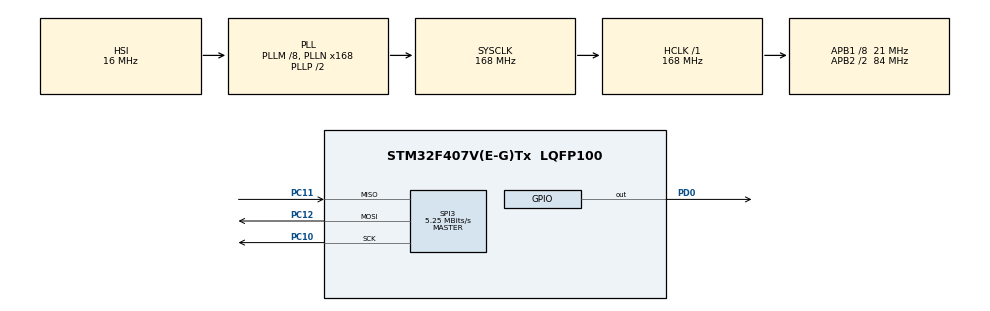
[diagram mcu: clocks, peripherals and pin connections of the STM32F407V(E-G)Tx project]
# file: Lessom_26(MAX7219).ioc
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Mcu.Family=STM32F4
Mcu.Name=STM32F407V(E-G)Tx
Mcu.Package=LQFP100
NVIC.PriorityGroup=NVIC_PRIORITYGROUP_4
PC10.Mode=Full_Duplex_Master
PC10.Signal=SPI3_SCK
PC11.Mode=Full_Duplex_Master
PC11.Signal=SPI3_MISO
PC12.Mode=Full_Duplex_Master
PC12.Signal=SPI3_MOSI
PD0.Signal=GPIO_Output
PH0-OSC_IN.Mode=HSE-External-Oscillator
PH0-OSC_IN.Signal=RCC_OSC_IN
PH1-OSC_OUT.Mode=HSE-External-Oscillator
PH1-OSC_OUT.Signal=RCC_OSC_OUT
ProjectManager.HeapSize=0x200
ProjectManager.StackSize=0x400
ProjectManager.TargetToolchain=MDK-ARM V5
RCC.48MHZClocksFreq_Value=84000000
RCC.AHBFreq_Value=168000000
RCC.APB1CLKDivider=RCC_HCLK_DIV8
RCC.APB1Freq_Value=21000000
RCC.APB1TimFreq_Value=42000000
RCC.APB2CLKDivider=RCC_HCLK_DIV2
RCC.APB2Freq_Value=84000000
RCC.APB2TimFreq_Value=168000000
RCC.CortexFreq_Value=168000000
RCC.HCLKFreq_Value=168000000
RCC.HSE_VALUE=8000000
RCC.HSI_VALUE=16000000
RCC.LSE_VALUE=32768
RCC.PLLM=8
RCC.PLLN=168
RCC.SYSCLKFreq_VALUE=168000000
RCC.SYSCLKSource=RCC_SYSCLKSOURCE_PLLCLK
RCC.VCOOutputFreq_Value=336000000
SPI3.BaudRatePrescaler=SPI_BAUDRATEPRESCALER_4
SPI3.CalculateBaudRate=5.25 MBits/s
SPI3.Mode=SPI_MODE_MASTER
board=Lessom_26(MAX7219)

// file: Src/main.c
/**
  ******************************************************************************
  * File Name          : main.c
  * Description        : Main program body
  ******************************************************************************
  *
  * COPYRIGHT(c) 2017 STMicroelectronics
  *
  * Redistribution and use in source and binary forms, with or without modification,
  * are permitted provided that the following conditions are met:
  *   1. Redistributions of source code must retain the above copyright notice,
  *      this list of conditions and the following disclaimer.
  *   2. Redistributions in binary form must reproduce the above copyright notice,
  *      this list of conditions and the following disclaimer in the documentation
  *      and/or other materials provided with the distribution.
  *   3. Neither the name of STMicroelectronics nor the names of its contributors
  *      may be used to endorse or promote products derived from this software
  *      without specific prior written permission.
  *
  * THIS SOFTWARE IS PROVIDED BY THE COPYRIGHT HOLDERS AND CONTRIBUTORS "AS IS"
  * AND ANY EXPRESS OR IMPLIED WARRANTIES, INCLUDING, BUT NOT LIMITED TO, THE
  * IMPLIED WARRANTIES OF MERCHANTABILITY AND FITNESS FOR A PARTICULAR PURPOSE ARE
  * DISCLAIMED. IN NO EVENT SHALL THE COPYRIGHT HOLDER OR CONTRIBUTORS BE LIABLE
  * FOR ANY DIRECT, INDIRECT, INCIDENTAL, SPECIAL, EXEMPLARY, OR CONSEQUENTIAL
  * DAMAGES (INCLUDING, BUT NOT LIMITED TO, PROCUREMENT OF SUBSTITUTE GOODS OR
  * SERVICES; LOSS OF USE, DATA, OR PROFITS; OR BUSINESS INTERRUPTION) HOWEVER
  * CAUSED AND ON ANY THEORY OF LIABILITY, WHETHER IN CONTRACT, STRICT LIABILITY,
  * OR TORT (INCLUDING NEGLIGENCE OR OTHERWISE) ARISING IN ANY WAY OUT OF THE USE
  * OF THIS SOFTWARE, EVEN IF ADVISED OF THE POSSIBILITY OF SUCH DAMAGE.
  *
  ******************************************************************************
  */
#include "main.h"
#include "stm32f4xx_hal.h"

SPI_HandleTypeDef hspi3;

/* USER CODE BEGIN PV */
/* Private variables ---------------------------------------------------------*/

/* USER CODE END PV */

void SystemClock_Config(void);
void Error_Handler(void);
static void MX_GPIO_Init(void);
static void MX_SPI3_Init(void);

/* USER CODE BEGIN PFP */
/* Private function prototypes -----------------------------------------------*/

/* USER CODE END PFP */

int main(void)
{

  /* USER CODE BEGIN 1 */
uint32_t i=0;

  /* USER CODE END 1 */

  /* MCU Configuration----------------------------------------------------------*/

  /* Reset of all peripherals, Initializes the Flash interface and the Systick. */
  HAL_Init();

  /* Configure the system clock */
  SystemClock_Config();

  /* Initialize all configured peripherals */
  MX_GPIO_Init();
  MX_SPI3_Init();

  /* USER CODE BEGIN 2 */
HAL_Delay(150);
	 Init_7319();
	 Send7319(1,0x01);
	  Send7319(2,0x02);
		 Send7319(3,0x03);
		  Send7319(4,0x04);
			 Send7319(5,0x05);
			  Send7319(6,0x07);
				 Send7319(7,0x08);
				  Send7319(8,0x09);
					HAL_Delay(700);
					Clear_7319();
					Number_7319(-3421);
					HAL_Delay(1000);
					Clear_7319();
					Number_Float_7219(12.54);

  /* USER CODE END 2 */

  /* Infinite loop */
  while (1)
  {

  }

}

/** System Clock Configuration
*/
void SystemClock_Config(void)
{

  RCC_OscInitTypeDef RCC_OscInitStruct;
  RCC_ClkInitTypeDef RCC_ClkInitStruct;

    /**Configure the main internal regulator output voltage
    */
  __HAL_RCC_PWR_CLK_ENABLE();

  __HAL_PWR_VOLTAGESCALING_CONFIG(PWR_REGULATOR_VOLTAGE_SCALE1);

    /**Initializes the CPU, AHB and APB busses clocks
    */
  RCC_OscInitStruct.OscillatorType = RCC_OSCILLATORTYPE_HSI;
  RCC_OscInitStruct.HSIState = RCC_HSI_ON;
  RCC_OscInitStruct.HSICalibrationValue = 16;
  RCC_OscInitStruct.PLL.PLLState = RCC_PLL_ON;
  RCC_OscInitStruct.PLL.PLLSource = RCC_PLLSOURCE_HSI;
  RCC_OscInitStruct.PLL.PLLM = 8;
  RCC_OscInitStruct.PLL.PLLN = 168;
  RCC_OscInitStruct.PLL.PLLP = RCC_PLLP_DIV2;
  RCC_OscInitStruct.PLL.PLLQ = 4;
  if (HAL_RCC_OscConfig(&RCC_OscInitStruct) != HAL_OK)
  {
    Error_Handler();
  }

    /**Initializes the CPU, AHB and APB busses clocks
    */
  RCC_ClkInitStruct.ClockType = RCC_CLOCKTYPE_HCLK|RCC_CLOCKTYPE_SYSCLK
                              |RCC_CLOCKTYPE_PCLK1|RCC_CLOCKTYPE_PCLK2;
  RCC_ClkInitStruct.SYSCLKSource = RCC_SYSCLKSOURCE_PLLCLK;
  RCC_ClkInitStruct.AHBCLKDivider = RCC_SYSCLK_DIV1;
  RCC_ClkInitStruct.APB1CLKDivider = RCC_HCLK_DIV8;
  RCC_ClkInitStruct.APB2CLKDivider = RCC_HCLK_DIV2;

  if (HAL_RCC_ClockConfig(&RCC_ClkInitStruct, FLASH_LATENCY_5) != HAL_OK)
  {
    Error_Handler();
  }

    /**Configure the Systick interrupt time
    */
  HAL_SYSTICK_Config(HAL_RCC_GetHCLKFreq()/1000);

    /**Configure the Systick
    */
  HAL_SYSTICK_CLKSourceConfig(SYSTICK_CLKSOURCE_HCLK);

  /* SysTick_IRQn interrupt configuration */
  HAL_NVIC_SetPriority(SysTick_IRQn, 0, 0);
}

/* SPI3 init function */
static void MX_SPI3_Init(void)
{

  hspi3.Instance = SPI3;
  hspi3.Init.Mode = SPI_MODE_MASTER;
  hspi3.Init.Direction = SPI_DIRECTION_2LINES;
  hspi3.Init.DataSize = SPI_DATASIZE_8BIT;
  hspi3.Init.CLKPolarity = SPI_POLARITY_LOW;
  hspi3.Init.CLKPhase = SPI_PHASE_1EDGE;
  hspi3.Init.NSS = SPI_NSS_SOFT;
  hspi3.Init.BaudRatePrescaler = SPI_BAUDRATEPRESCALER_4;
  hspi3.Init.FirstBit = SPI_FIRSTBIT_MSB;
  hspi3.Init.TIMode = SPI_TIMODE_DISABLE;
  hspi3.Init.CRCCalculation = SPI_CRCCALCULATION_DISABLE;
  hspi3.Init.CRCPolynomial = 10;
  if (HAL_SPI_Init(&hspi3) != HAL_OK)
  {
    Error_Handler();
  }

}

/** Configure pins as
        * Analog
        * Input
        * Output
        * EVENT_OUT
        * EXTI
*/
static void MX_GPIO_Init(void)
{

  GPIO_InitTypeDef GPIO_InitStruct;

  /* GPIO Ports Clock Enable */
  __HAL_RCC_GPIOH_CLK_ENABLE();
  __HAL_RCC_GPIOC_CLK_ENABLE();
  __HAL_RCC_GPIOD_CLK_ENABLE();

  /*Configure GPIO pin Output Level */
  HAL_GPIO_WritePin(GPIOD, GPIO_PIN_0, GPIO_PIN_RESET);

  /*Configure GPIO pin : PD0 */
  GPIO_InitStruct.Pin = GPIO_PIN_0;
  GPIO_InitStruct.Mode = GPIO_MODE_OUTPUT_PP;
  GPIO_InitStruct.Pull = GPIO_NOPULL;
  GPIO_InitStruct.Speed = GPIO_SPEED_FREQ_LOW;
  HAL_GPIO_Init(GPIOD, &GPIO_InitStruct);

}

void Error_Handler(void)
{
  while(1)
  {
  }
}

/************************ (C) COPYRIGHT STMicroelectronics *****END OF FILE****/
